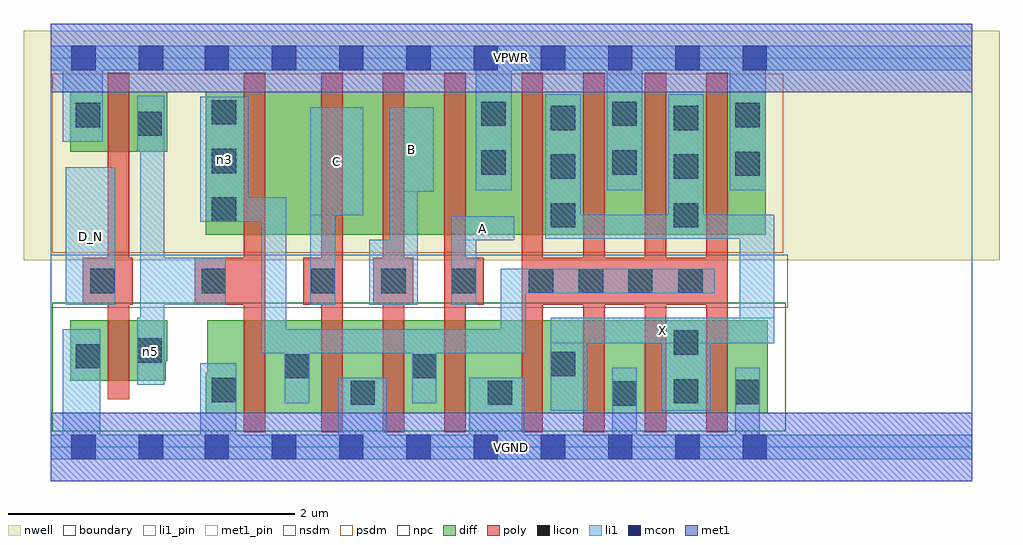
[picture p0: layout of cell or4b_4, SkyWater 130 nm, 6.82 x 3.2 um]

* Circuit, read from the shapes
.subckt or4b_4 A B C D_N VGND VPWR X n3 n5
XM1 n5 D_N VGND VSUBS sky130_fd_pr__nfet_01v8 w=0.42 l=0.15
XM2 n3 n5 VGND VSUBS sky130_fd_pr__nfet_01v8 w=0.65 l=0.15
XM3 VGND C n3 VSUBS sky130_fd_pr__nfet_01v8 w=0.65 l=0.15
XM4 n3 B VGND VSUBS sky130_fd_pr__nfet_01v8 w=0.65 l=0.15
XM5 VGND A n3 VSUBS sky130_fd_pr__nfet_01v8 w=0.65 l=0.15
XM6 X n3 VGND VSUBS sky130_fd_pr__nfet_01v8 w=0.65 l=0.15 m=4
XM7 n5 D_N VPWR n1 sky130_fd_pr__pfet_01v8 w=0.42 l=0.15
XM8 n2 n5 n3 n1 sky130_fd_pr__pfet_01v8 w=1 l=0.15
XM9 n4 C n2 n1 sky130_fd_pr__pfet_01v8 w=1 l=0.15
XM10 n6 B n4 n1 sky130_fd_pr__pfet_01v8 w=1 l=0.15
XM11 VPWR A n6 n1 sky130_fd_pr__pfet_01v8 w=1 l=0.15
XM12 X n3 VPWR n1 sky130_fd_pr__pfet_01v8 w=1 l=0.15 m=4
.ends

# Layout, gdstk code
import gdstk
lib = gdstk.Library(unit=1e-6, precision=1e-09)
def R(c, l, rs):  # rectangles x0, y0, x1, y1
    for r in rs: c.add(gdstk.rectangle(r[:2], r[2:], *l))
def A(c, l, x, y, w, h, nx, ny, dx, dy):  # array of equal rectangles
    R(c, l, [(x+i*dx, y+j*dy, x+i*dx+w, y+j*dy+h) for i in range(nx) for j in range(ny)])
nwell = (64, 20)
diff = (65, 20)
poly = (66, 20)
licon = (66, 44)
li1_pin = (67, 16)
li1 = (67, 20)
mcon = (67, 44)
met1_pin = (68, 16)
met1 = (68, 20)
nsdm = (93, 44)
psdm = (94, 20)
npc = (95, 20)
boundary = (235, 4)

or4b_4 = lib.new_cell('or4b_4')
R(or4b_4, nwell, [(-0.19,1.305,6.63,2.91), (0,1.305,6.44,2.91)])
R(or4b_4, diff, [(1.085,0.235,5.01,0.52), (1.095,0.235,5.01,0.885), (0.135,0.465,0.805,0.885), (0.135,0.6,0.815,0.885), (1.085,1.485,4.995,2.485), (0.135,2.065,0.815,2.485)])
A(or4b_4, poly, 1.89, 0.105, 0.15, 2.51, 3, 1, 0.43, 0)
A(or4b_4, poly, 3.29, 0.105, 0.15, 2.51, 4, 1, 0.43, 0)
R(or4b_4, poly, [(1.35,0.105,1.5,2.615), (0.4,0.335,0.55,2.615), (0.225,0.995,0.575,1.325), (1.005,0.995,1.5,1.325), (1.765,0.995,2.04,1.325), (2.255,0.995,2.535,1.325), (2.75,0.995,3.025,1.325), (3.29,0.995,4.73,1.325)])
A(or4b_4, licon, 1.82, 1.075, 0.17, 0.17, 3, 1, 0.49, 0)
A(or4b_4, licon, 3.495, 1.535, 0.17, 0.17, 1, 3, 0, 0.34)
A(or4b_4, licon, 4.355, 1.535, 0.17, 0.17, 1, 3, 0, 0.34)
A(or4b_4, licon, 1.125, 1.575, 0.17, 0.17, 1, 3, 0, 0.34)
R(or4b_4, licon, [(3.925,0.29,4.095,0.46), (2.095,0.295,2.265,0.465), (3.055,0.295,3.225,0.465), (4.785,0.3,4.955,0.47), (4.355,0.305,4.525,0.475), (1.125,0.315,1.295,0.485), (1.635,0.48,1.805,0.65), (2.525,0.48,2.695,0.65), (3.495,0.495,3.665,0.665), (0.175,0.55,0.345,0.72), (0.605,0.59,0.775,0.76), (4.355,0.645,4.525,0.815), (0.275,1.075,0.445,1.245), (1.055,1.075,1.225,1.245), (3.34,1.075,3.51,1.245), (3.69,1.075,3.86,1.245), (4.035,1.075,4.205,1.245), (4.385,1.075,4.555,1.245), (4.785,1.895,4.955,2.065), (3.01,1.905,3.18,2.075), (3.925,1.905,4.095,2.075), (0.605,2.175,0.775,2.345), (0.175,2.235,0.345,2.405), (4.785,2.235,4.955,2.405), (3.01,2.245,3.18,2.415), (3.925,2.245,4.095,2.415)])
R(or4b_4, li1_pin, [(3.495,0.725,5.055,0.905), (0.105,0.995,0.45,1.955), (2.8,1.445,3.24,1.615), (1.815,1.62,2.185,2.375), (2.37,1.785,2.675,2.375)])
R(or4b_4, li1, [(0,-0.085,6.44,0.085), (0.085,-0.085,0.345,0.825), (1.045,-0.085,1.295,0.585), (2.01,-0.085,2.35,0.485), (2.925,-0.085,3.31,0.485), (3.925,-0.085,4.095,0.555), (4.785,-0.085,4.955,0.555), (3.495,0.255,3.75,0.905), (4.27,0.255,4.61,0.905), (1.635,0.305,1.805,0.825), (2.525,0.305,2.695,0.825), (0.605,0.435,0.795,0.905), (0.625,0.435,0.795,2.455), (1.47,0.655,3.32,0.825), (1.47,0.655,1.645,1.745), (3.145,0.655,3.32,1.245), (3.495,0.725,5.055,0.905), (4.815,0.725,5.055,1.625), (0.105,0.995,0.45,1.955), (0.625,0.995,1.225,1.325), (1.815,0.995,1.99,2.375), (2.225,0.995,2.565,1.45), (2.37,0.995,2.565,2.375), (2.8,0.995,2.975,1.615), (3.145,1.075,4.64,1.245), (2.8,1.445,3.24,1.615), (3.455,1.455,5.055,1.625), (3.455,1.455,3.705,2.465), (4.315,1.455,4.565,2.465), (1.045,1.575,1.38,2.45), (1.045,1.575,1.645,1.745), (1.815,1.62,2.185,2.375), (2.37,1.785,2.675,2.375), (2.97,1.795,3.22,2.805), (3.885,1.795,4.135,2.805), (4.745,1.795,4.995,2.805), (0.605,2.065,0.795,2.455), (0.085,2.135,0.365,2.805), (0,2.635,6.44,2.805)])
A(or4b_4, mcon, 1.075, -0.085, 0.17, 0.17, 9, 2, 0.47, 2.72)
R(or4b_4, mcon, [(0.145,-0.085,0.315,0.085), (0.615,-0.085,0.785,0.085), (0.145,2.635,0.315,2.805), (0.615,2.635,0.785,2.805)])
R(or4b_4, met1_pin, [(0,-0.24,6.44,0.24), (0,2.48,6.44,2.96)])
R(or4b_4, met1, [(0,-0.24,6.44,0.24), (0,2.48,6.44,2.96)])
R(or4b_4, nsdm, [(0.01,0.11,5.135,1.01)])
R(or4b_4, psdm, [(0.01,1.36,5.12,2.61)])
R(or4b_4, npc, [(0,0.975,5.15,1.345)])
R(or4b_4, boundary, [(0,0,6.44,2.72)])
or4b_4.add(gdstk.Label('A', (3.02,1.53), layer=67, texttype=5))
or4b_4.add(gdstk.Label('B', (2.522,2.08), layer=67, texttype=5))
or4b_4.add(gdstk.Label('C', (2,1.997), layer=67, texttype=5))
or4b_4.add(gdstk.Label('D_N', (0.277,1.475), layer=67, texttype=5))
or4b_4.add(gdstk.Label('X', (4.275,0.815), layer=67, texttype=5))
or4b_4.add(gdstk.Label('n3', (1.212,2.012), layer=67, texttype=5))
or4b_4.add(gdstk.Label('n5', (0.7,0.67), layer=67, texttype=5))
or4b_4.add(gdstk.Label('VPWR', (3.22,2.72), layer=68, texttype=5))
or4b_4.add(gdstk.Label('VGND', (3.22,0), layer=68, texttype=5))
or4b_4.add(gdstk.Label('A', (3.02,1.53), layer=67, texttype=16))
or4b_4.add(gdstk.Label('B', (2.522,2.08), layer=67, texttype=16))
or4b_4.add(gdstk.Label('C', (2,1.997), layer=67, texttype=16))
or4b_4.add(gdstk.Label('D_N', (0.277,1.475), layer=67, texttype=16))
or4b_4.add(gdstk.Label('X', (4.275,0.815), layer=67, texttype=16))
or4b_4.add(gdstk.Label('VPWR', (3.22,2.72), layer=68, texttype=16))
or4b_4.add(gdstk.Label('VGND', (3.22,0), layer=68, texttype=16))

lib.write_gds('or4b_4.gds')
